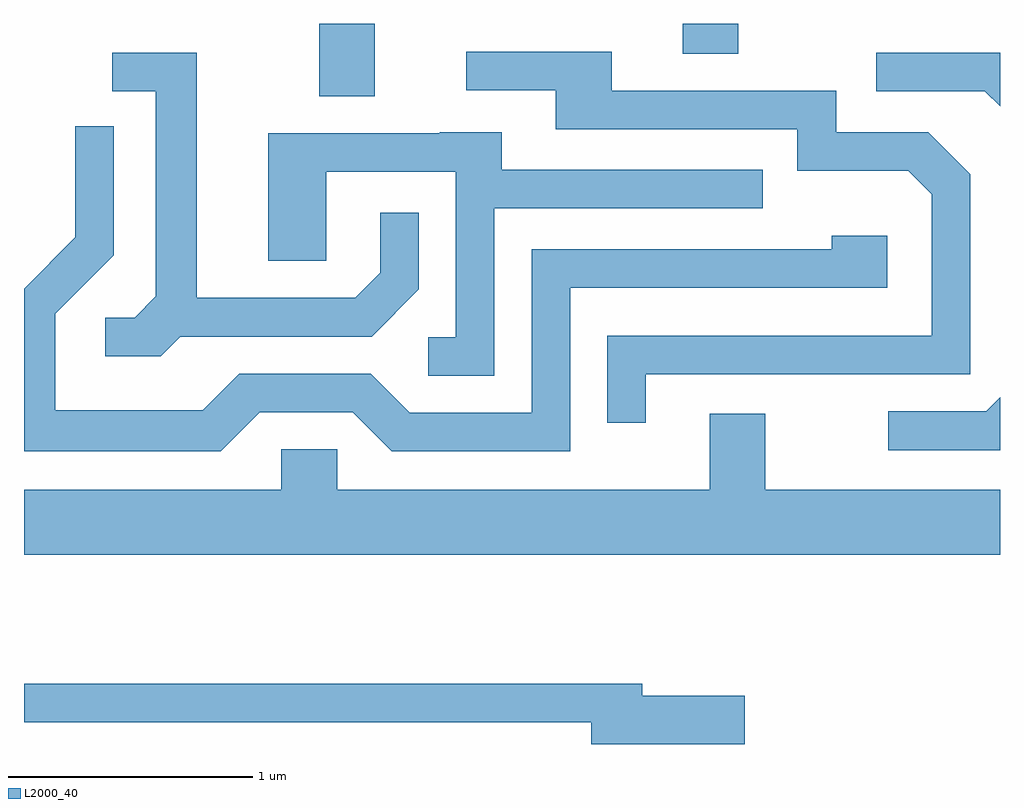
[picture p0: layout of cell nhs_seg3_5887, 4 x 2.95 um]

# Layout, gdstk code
import gdstk
lib = gdstk.Library(unit=1e-6, precision=1e-09)
def R(c, l, rs):  # rectangles x0, y0, x1, y1
    for r in rs: c.add(gdstk.rectangle(r[:2], r[2:], *l))
def P(c, l, *ps):  # polygons
    for p in ps: c.add(gdstk.Polygon(p, *l))
L2000_40 = (2000, 40)

nhs_seg3_5887 = lib.new_cell('nhs_seg3_5887')
R(nhs_seg3_5887, L2000_40, [(358.821,1205.596,359.049,1205.892), (360.311,1205.771,360.539,1205.892)])
P(nhs_seg3_5887, L2000_40, [(360.159,1204.456),(361.489,1204.456),(361.489,1205.277),(361.317,1205.449),(360.939,1205.449),(360.939,1205.619),(360.019,1205.619),(360.019,1205.779),(359.423,1205.779),(359.423,1205.621),(359.791,1205.621),(359.791,1205.461),(360.781,1205.461),(360.781,1205.291),(361.234,1205.291),(361.331,1205.194),(361.331,1204.614),(360.001,1204.614),(360.001,1204.258),(360.159,1204.258)],
  [(361.611,1205.774),(361.103,1205.774),(361.103,1205.616),(361.549,1205.616),(361.611,1205.554)],
  [(358.252,1204.611),(359.037,1204.611),(359.229,1204.804),(359.229,1205.118),(359.071,1205.118),(359.071,1204.872),(358.969,1204.769),(358.319,1204.769),(358.319,1205.774),(357.973,1205.774),(357.973,1205.616),(358.151,1205.616),(358.151,1204.777),(358.064,1204.689),(357.943,1204.689),(357.943,1204.531),(358.172,1204.531)],
  [(358.577,1204.301),(358.959,1204.301),(359.119,1204.141),(359.849,1204.141),(359.849,1204.811),(361.149,1204.811),(361.149,1205.024),(360.921,1205.024),(360.921,1204.969),(359.691,1204.969),(359.691,1204.299),(359.192,1204.299),(359.032,1204.459),(358.494,1204.459),(358.344,1204.309),(357.739,1204.309),(357.739,1204.704),(357.979,1204.944),(357.979,1205.473),(357.821,1205.473),(357.821,1205.017),(357.611,1204.807),(357.611,1204.141),(358.417,1204.141)],
  [(359.539,1205.136),(360.638,1205.136),(360.638,1205.294),(359.569,1205.294),(359.569,1205.449),(359.315,1205.449),(359.315,1205.444),(358.611,1205.444),(358.611,1204.921),(358.849,1204.921),(358.849,1205.286),(359.381,1205.286),(359.381,1204.609),(359.268,1204.609),(359.268,1204.451),(359.539,1204.451)],
  [(361.611,1204.362),(361.554,1204.304),(361.153,1204.304),(361.153,1204.146),(361.611,1204.146)],
  [(361.611,1203.984),(360.649,1203.984),(360.649,1204.294),(360.421,1204.294),(360.421,1203.984),(358.894,1203.984),(358.894,1204.149),(358.666,1204.149),(358.666,1203.984),(357.611,1203.984),(357.611,1203.716),(361.611,1203.716)],
  [(360.564,1203.139),(360.144,1203.139),(360.144,1203.189),(357.611,1203.189),(357.611,1203.031),(359.936,1203.031),(359.936,1202.941),(360.564,1202.941)])

lib.write_gds('nhs_seg3_5887.gds')
